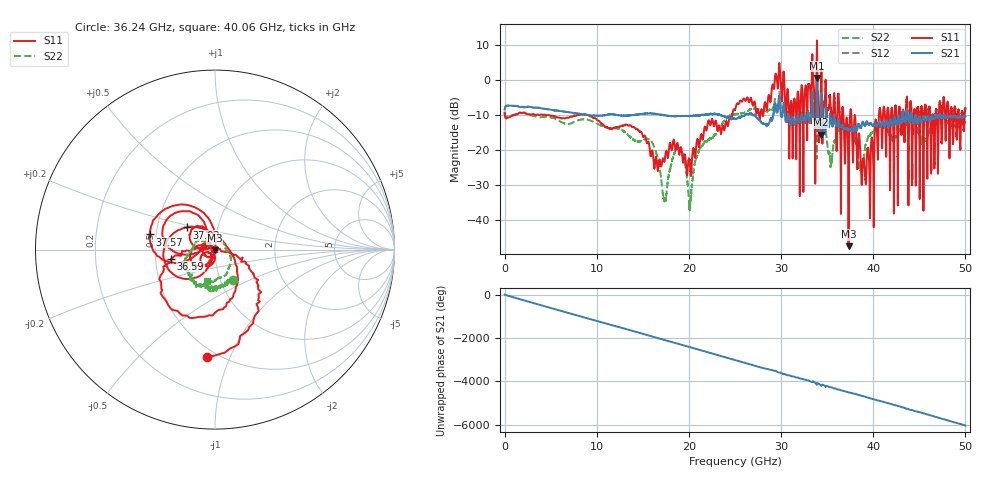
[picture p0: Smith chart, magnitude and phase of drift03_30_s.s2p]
!Created with skrf (http://scikit-rf.org).
# Hz S RI R 50.0
!freq ReS11 ImS11 ReS21 ImS21 ReS12 ImS12 ReS22 ImS22
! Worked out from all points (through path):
!   10001 points, 300 kHz to 50 GHz, reference 50 ohm
!   highest |S21| = 0.58 dB at 33.9 GHz (marker M1); lowest = -15.6 dB at 34.32 GHz (marker M2)
!   group delay of S21, straight-line fit = 335 ps
!   lowest |S11| = -47.5 dB at 37.32 GHz (marker M3), VSWR 1.01, Z = 49.9 - j0.398 ohm
!   |S11| at or under -10 dB: 4.476 GHz to 8.187 GHz (3.711 GHz wide, 58.6 % of centre); 9.015 GHz to 24.7 GHz (15.68 GHz wide, 93 % of centre); 38.01 GHz to 40.63 GHz (2.618 GHz wide, 6.66 % of centre)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
!   |S22| runs from -37.3 to -5.9 dB; largest |S21 - S12| = 0.11
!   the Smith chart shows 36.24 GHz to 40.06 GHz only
!   S11 on the Smith chart (normalised r, x): 36.24 GHz: 0.44, -0.83; 36.59 GHz: 0.60, -0.07; 37.03 GHz: 0.71, +0.18; 37.57 GHz: 0.46, +0.09; 40.06 GHz: 0.98, +0.00
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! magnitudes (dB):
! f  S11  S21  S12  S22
! 300 kHz  -9.4  -8.5  -8.4  -9.3
! 8.335 GHz  -9.9  -9.8  -9.8  -11.3
! 16.67 GHz  -25.6  -9.8  -9.8  -23.4
! 17.38 GHz  -22.8  -10.1  -10.1  -34.6
! 19.05 GHz  -20.1  -10.3  -10.3  -19.9
! 20.12 GHz  -24.2  -10.3  -10.3  -37.3
! 21.21 GHz  -17.2  -10.1  -10.1  -19.6
! 25 GHz  -8.6  -11.1  -11.1  -9.8
! 31.08 GHz  -6.1  -12.7  -12.7  -10.5
! 33.34 GHz  0.4  -7.5  -7.7  -9.4
! 33.9 GHz  11.3  0.6  0.1  -22.6
! 34.32 GHz  -2.8  -15.6  -15.0  -11.3
! 35.35 GHz  -6.7  -10.6  -10.1  -24.3
! 36.24 GHz  -4.4  -11.8  -11.8  -14.0
! 36.59 GHz  -12.1  -13.1  -13.1  -13.5
! 37.03 GHz  -14.1  -13.9  -14.0  -14.2
! 37.32 GHz  -47.5  -14.4  -14.5  -13.5
! 37.57 GHz  -8.6  -13.9  -13.8  -14.3
! 38.7 GHz  -27.0  -13.5  -13.4  -25.5
! 40.06 GHz  -42.1  -12.7  -12.8  -14.9
! 41.67 GHz  -9.6  -13.3  -13.2  -14.8
! 50 GHz  -8.2  -10.5  -10.5  -12.1
